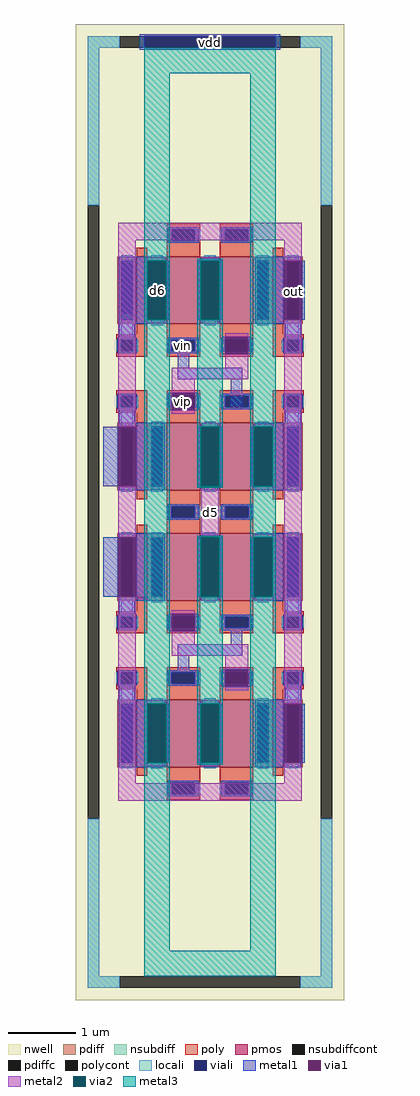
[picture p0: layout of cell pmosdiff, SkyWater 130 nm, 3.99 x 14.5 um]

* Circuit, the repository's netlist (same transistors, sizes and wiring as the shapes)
** sch_path: /home/riff/mbkm-polytron/opamp/mag/pmosdiff.sch
.subckt pmosdiff VDD D5 VIP VIN OUT D6
*.PININFO VIP:I VIN:I D6:B D5:B OUT:O VDD:B
XM6 D6 VIN D5 VDD sky130_fd_pr__pfet_01v8 L=0.5 W=1 nf=1 m=4
XM7 OUT VIP D5 VDD sky130_fd_pr__pfet_01v8 L=0.5 W=1 nf=1 m=4
XM1 D6 D6 D6 VDD sky130_fd_pr__pfet_01v8 L=0.15 W=1 nf=1 m=4
XM2 OUT OUT OUT VDD sky130_fd_pr__pfet_01v8 L=0.15 W=1 nf=1 m=4
.ends
.end

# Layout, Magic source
magic
tech sky130A
magscale 1 2
<< nwell >>
rect -98 -671 700 2228
<< pmos >>
rect 488 220 518 221
<< pdiff >>
rect 518 220 576 221
<< nsubdiff >>
rect -62 2158 33 2192
rect 569 2158 664 2192
rect -62 1690 -28 2158
rect 630 1690 664 2158
rect -62 -600 -28 -132
rect 630 -600 664 -132
rect -62 -634 33 -600
rect 569 -634 664 -600
<< nsubdiffcont >>
rect 33 2158 569 2192
rect -62 -132 -28 1690
rect 630 -132 664 1690
rect 33 -634 569 -600
<< poly >>
rect 84 1306 114 1326
rect 22 1290 114 1306
rect 22 1256 38 1290
rect 72 1256 114 1290
rect 22 1240 114 1256
rect 488 1306 518 1322
rect 488 1290 580 1306
rect 488 1256 530 1290
rect 564 1256 580 1290
rect 488 1240 580 1256
rect 22 1124 114 1140
rect 22 1090 38 1124
rect 72 1090 114 1124
rect 22 1074 114 1090
rect 84 1051 114 1074
rect 488 1124 580 1140
rect 488 1090 530 1124
rect 564 1090 580 1124
rect 488 1074 580 1090
rect 488 1043 518 1074
rect 84 484 114 527
rect 22 468 114 484
rect 22 434 38 468
rect 72 434 114 468
rect 22 418 114 434
rect 488 484 518 500
rect 488 468 580 484
rect 488 434 530 468
rect 564 434 580 468
rect 488 418 580 434
rect 22 302 114 318
rect 22 268 38 302
rect 72 268 114 302
rect 22 252 114 268
rect 84 221 114 252
rect 488 302 580 318
rect 488 268 530 302
rect 564 268 580 302
rect 488 252 580 268
rect 488 221 518 252
<< polycont >>
rect 38 1256 72 1290
rect 530 1256 564 1290
rect 38 1090 72 1124
rect 530 1090 564 1124
rect 38 434 72 468
rect 530 434 564 468
rect 38 268 72 302
rect 530 268 564 302
<< locali >>
rect -62 2158 33 2192
rect 569 2158 664 2192
rect -62 1690 -28 2158
rect 630 1690 664 2158
rect 38 1290 72 1364
rect 530 1290 564 1354
rect 22 1256 38 1290
rect 72 1256 88 1290
rect 514 1256 530 1290
rect 564 1256 580 1290
rect 22 1090 38 1124
rect 72 1090 88 1124
rect 514 1090 530 1124
rect 564 1090 580 1124
rect 38 1043 72 1090
rect 530 1044 564 1090
rect 38 468 72 527
rect 530 468 564 512
rect 22 434 38 468
rect 72 434 88 468
rect 514 434 530 468
rect 564 434 580 468
rect 22 268 38 302
rect 72 268 88 302
rect 514 268 530 302
rect 564 268 580 302
rect 38 221 72 268
rect 530 220 564 268
rect -62 -600 -28 -132
rect 630 -600 664 -132
rect -62 -634 33 -600
rect 569 -634 664 -600
<< viali >>
rect 105 2158 497 2192
rect 38 1256 72 1290
rect 530 1256 564 1290
rect 38 1090 72 1124
rect 530 1090 564 1124
rect 38 434 72 468
rect 530 434 564 468
rect 38 268 72 302
rect 530 268 564 302
<< metal1 >>
rect 93 2192 509 2198
rect 93 2158 105 2192
rect 497 2158 509 2192
rect 93 2152 509 2158
rect 32 1525 166 1537
rect 436 1525 570 1537
rect 32 1349 117 1525
rect 169 1349 179 1525
rect 265 1349 275 1525
rect 327 1349 337 1525
rect 436 1349 521 1525
rect 573 1349 583 1525
rect 32 1337 166 1349
rect 436 1337 570 1349
rect 32 1296 78 1337
rect 26 1290 84 1296
rect 26 1256 38 1290
rect 72 1256 84 1290
rect 26 1250 84 1256
rect 205 1207 239 1290
rect 336 1247 346 1299
rect 414 1247 424 1299
rect 524 1296 570 1337
rect 518 1290 576 1296
rect 518 1256 530 1290
rect 564 1256 576 1290
rect 518 1250 576 1256
rect 205 1173 397 1207
rect 26 1124 84 1130
rect 26 1090 38 1124
rect 72 1090 84 1124
rect 26 1084 84 1090
rect 32 1043 77 1084
rect 178 1081 188 1133
rect 256 1081 266 1133
rect 363 1090 397 1173
rect 518 1124 576 1130
rect 518 1090 530 1124
rect 564 1090 576 1124
rect 518 1084 576 1090
rect 524 1043 570 1084
rect 32 1031 166 1043
rect 436 1031 570 1043
rect -16 855 29 1031
rect 81 855 166 1031
rect 265 855 275 1031
rect 327 855 337 1031
rect 423 855 433 1031
rect 485 855 570 1031
rect 32 843 166 855
rect 436 843 570 855
rect 32 703 166 715
rect 436 703 570 715
rect -16 527 29 703
rect 81 527 166 703
rect 265 527 275 703
rect 327 527 337 703
rect 423 527 433 703
rect 485 527 570 703
rect 32 515 166 527
rect 436 515 570 527
rect 32 474 77 515
rect 26 468 84 474
rect 26 434 38 468
rect 72 434 84 468
rect 26 428 84 434
rect 178 425 188 477
rect 256 425 266 477
rect 523 474 570 515
rect 518 468 576 474
rect 518 434 530 468
rect 564 434 576 468
rect 518 428 576 434
rect 363 385 397 428
rect 205 351 397 385
rect 205 308 239 351
rect 26 302 84 308
rect 26 268 38 302
rect 72 268 84 302
rect 26 262 84 268
rect 32 221 78 262
rect 336 259 346 311
rect 414 259 424 311
rect 518 302 576 308
rect 518 268 530 302
rect 564 268 576 302
rect 518 262 576 268
rect 524 221 570 262
rect 32 209 166 221
rect 436 209 570 221
rect 32 33 117 209
rect 169 33 179 209
rect 265 33 275 209
rect 327 33 337 209
rect 436 33 521 209
rect 573 33 583 209
rect 32 21 166 33
rect 436 21 570 33
<< via1 >>
rect 117 1349 169 1525
rect 275 1349 327 1525
rect 521 1349 573 1525
rect 346 1247 414 1299
rect 188 1081 256 1133
rect 29 855 81 1031
rect 275 855 327 1031
rect 433 855 485 1031
rect 29 527 81 703
rect 275 527 327 703
rect 433 527 485 703
rect 188 425 256 477
rect 346 259 414 311
rect 117 33 169 209
rect 275 33 327 209
rect 521 33 573 209
<< metal2 >>
rect 29 1585 573 1637
rect 29 1031 81 1585
rect 115 1525 171 1535
rect 115 1339 171 1349
rect 273 1525 329 1535
rect 273 1339 329 1349
rect 521 1525 573 1585
rect 275 1337 327 1339
rect 346 1299 414 1309
rect 346 1207 414 1247
rect 188 1173 414 1207
rect 188 1133 256 1173
rect 188 1071 256 1081
rect 275 1041 327 1043
rect 29 703 81 855
rect 273 1031 329 1041
rect 273 845 329 855
rect 431 1031 487 1041
rect 431 845 487 855
rect 275 713 327 845
rect 29 -27 81 527
rect 273 703 329 713
rect 273 517 329 527
rect 431 703 487 713
rect 431 517 487 527
rect 275 515 327 517
rect 188 477 256 487
rect 188 385 256 425
rect 188 351 414 385
rect 346 311 414 351
rect 346 249 414 259
rect 275 219 327 221
rect 115 209 171 219
rect 115 23 171 33
rect 273 209 329 219
rect 273 23 329 33
rect 521 209 573 1349
rect 521 -27 573 33
rect 29 -79 573 -27
<< via2 >>
rect 115 1349 117 1525
rect 117 1349 169 1525
rect 169 1349 171 1525
rect 273 1349 275 1525
rect 275 1349 327 1525
rect 327 1349 329 1525
rect 273 855 275 1031
rect 275 855 327 1031
rect 327 855 329 1031
rect 431 855 433 1031
rect 433 855 485 1031
rect 485 855 487 1031
rect 273 527 275 703
rect 275 527 327 703
rect 327 527 329 703
rect 431 527 433 703
rect 433 527 485 703
rect 485 527 487 703
rect 115 33 117 209
rect 117 33 169 209
rect 169 33 171 209
rect 273 33 275 209
rect 275 33 327 209
rect 327 33 329 209
<< metal3 >>
rect 105 2082 497 2158
rect 105 1525 181 2082
rect 105 1349 115 1525
rect 171 1349 181 1525
rect 105 209 181 1349
rect 263 1525 339 1530
rect 263 1349 273 1525
rect 329 1349 339 1525
rect 263 1031 339 1349
rect 263 855 273 1031
rect 329 855 339 1031
rect 263 850 339 855
rect 421 1031 497 2082
rect 421 855 431 1031
rect 487 855 497 1031
rect 105 33 115 209
rect 171 33 181 209
rect 105 -524 181 33
rect 263 703 339 708
rect 263 527 273 703
rect 329 527 339 703
rect 263 209 339 527
rect 263 33 273 209
rect 329 33 339 209
rect 263 28 339 33
rect 421 703 497 855
rect 421 527 431 703
rect 487 527 497 703
rect 421 -524 497 527
rect 105 -600 497 -524
use sky130_fd_pr__pfet_01v8_2XUZHN  sky130_fd_pr__pfet_01v8_2XUZHN_0
transform 1 0 99 0 1 943
box -109 -162 109 162
use sky130_fd_pr__pfet_01v8_2XUZHN  sky130_fd_pr__pfet_01v8_2XUZHN_1
transform 1 0 99 0 1 121
box -109 -162 109 162
use sky130_fd_pr__pfet_01v8_2XUZHN  sky130_fd_pr__pfet_01v8_2XUZHN_2
transform 1 0 503 0 1 943
box -109 -162 109 162
use sky130_fd_pr__pfet_01v8_2XUZHN  sky130_fd_pr__pfet_01v8_2XUZHN_3
transform 1 0 503 0 1 615
box -109 -162 109 162
use sky130_fd_pr__pfet_01v8_2XUZHN  sky130_fd_pr__pfet_01v8_2XUZHN_4
transform 1 0 503 0 1 1437
box -109 -162 109 162
use sky130_fd_pr__pfet_01v8_2XUZHN  sky130_fd_pr__pfet_01v8_2XUZHN_5
transform 1 0 503 0 1 121
box -109 -162 109 162
use sky130_fd_pr__pfet_01v8_2XUZHN  sky130_fd_pr__pfet_01v8_2XUZHN_6
transform 1 0 99 0 1 615
box -109 -162 109 162
use sky130_fd_pr__pfet_01v8_2XUZHN  sky130_fd_pr__pfet_01v8_2XUZHN_7
transform 1 0 99 0 1 1437
box -109 -162 109 162
use sky130_fd_pr__pfet_01v8_6HVNUH  sky130_fd_pr__pfet_01v8_6HVNUH_0
transform 1 0 301 0 1 779
box -223 -364 223 364
use sky130_fd_pr__pfet_01v8_BHVYY6  sky130_fd_pr__pfet_01v8_BHVYY6_0
transform 1 0 301 0 1 121
box -223 -200 223 200
use sky130_fd_pr__pfet_01v8_BHVYY6  sky130_fd_pr__pfet_01v8_BHVYY6_1
transform 1 0 301 0 1 1437
box -223 -200 223 200
<< labels >>
flabel metal2 303 777 303 777 0 FreeSans 160 0 0 0 d5
port 0 nsew
flabel via1 548 1434 548 1434 0 FreeSans 160 0 0 0 out
port 1 nsew
flabel via2 144 1436 144 1436 0 FreeSans 160 0 0 0 d6
port 2 nsew
flabel via1 219 1108 219 1108 0 FreeSans 160 0 0 0 vip
port 3 nsew
flabel metal1 220 1273 220 1273 0 FreeSans 160 0 0 0 vin
port 4 nsew
flabel viali 303 2173 303 2173 0 FreeSans 160 0 0 0 vdd
port 5 nsew
<< end >>

# cell sky130_fd_pr__pfet_01v8_2XUZHN: kit device sky130_fd_pr__pfet_01v8, w 1 l 0.15 m 1 nf 1 diffcov 100 polycov 100 guard 0 glc 1 grc 1 gtc 1 gbc 1 tbcov 100 rlcov 100 topc 0 botc 0 poverlap 0 doverlap 1 lmin 0.15 wmin 0.42 compatible {sky130_fd_pr__pfet_01v8 sky130_fd_pr__pfet_01v8_lvt sky130_fd_pr__pfet_01v8_hvt sky130_fd_pr__pfet_g5v0d10v5} full_metal 1 viasrc 100 viadrn 100 viagate 100 viagb 0 viagr 0 viagl 0 viagt 0

# cell sky130_fd_pr__pfet_01v8_6HVNUH: kit device sky130_fd_pr__pfet_01v8, w 1 l 0.5 m 2 nf 2 diffcov 100 polycov 100 guard 0 glc 1 grc 1 gtc 1 gbc 1 tbcov 100 rlcov 100 topc 1 botc 1 poverlap 1 doverlap 1 lmin 0.15 wmin 0.42 compatible {sky130_fd_pr__pfet_01v8 sky130_fd_pr__pfet_01v8_lvt sky130_fd_pr__pfet_01v8_hvt sky130_fd_pr__pfet_g5v0d10v5} full_metal 1 viasrc 100 viadrn 100 viagate 100 viagb 0 viagr 0 viagl 0 viagt 0

# cell sky130_fd_pr__pfet_01v8_BHVYY6: kit device sky130_fd_pr__pfet_01v8, w 1 l 0.5 m 1 nf 2 diffcov 100 polycov 100 guard 0 glc 1 grc 1 gtc 1 gbc 1 tbcov 100 rlcov 100 topc 1 botc 1 poverlap 0 doverlap 1 lmin 0.15 wmin 0.42 compatible {sky130_fd_pr__pfet_01v8 sky130_fd_pr__pfet_01v8_lvt sky130_fd_pr__pfet_01v8_hvt sky130_fd_pr__pfet_g5v0d10v5} full_metal 1 viasrc 100 viadrn 100 viagate 100 viagb 0 viagr 0 viagl 0 viagt 0
